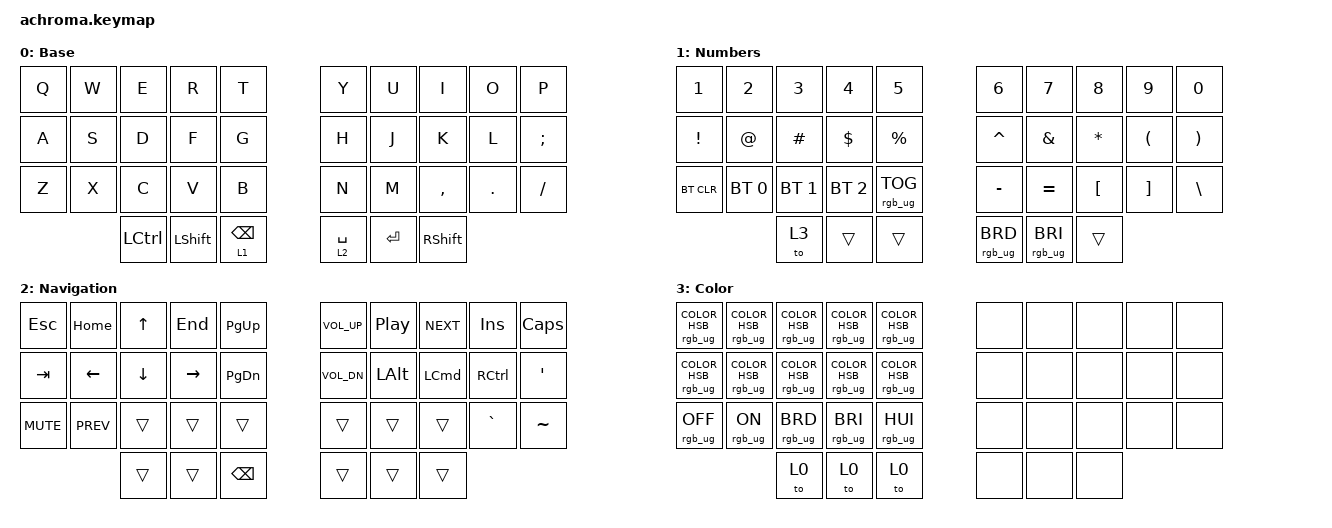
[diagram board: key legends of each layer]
#include <behaviors.dtsi>
#include <dt-bindings/zmk/keys.h>
#include <dt-bindings/zmk/bt.h>
#include <dt-bindings/zmk/outputs.h>
#include <dt-bindings/zmk/rgb.h>

/ {
    behaviors {
        // Layer-tap that switches to the layer as soon as you press and release another key
        // while holding it (so a quick "hold + tap" works), and types the tap key otherwise.
        lt_b: layer_tap_balanced {
            compatible = "zmk,behavior-hold-tap";
            #binding-cells = <2>;
            flavor = "balanced";
            tapping-term-ms = <200>;
            bindings = <&mo>, <&kp>;
        };
    };

    keymap {
        compatible = "zmk,keymap";

        // Layer 0: QWERTY Base
        default_layer {
            display-name = "Base";
            bindings = <
                &kp Q       &kp W       &kp E       &kp R       &kp T               &kp Y       &kp U       &kp I       &kp O       &kp P
                &kp A       &kp S       &kp D       &kp F       &kp G               &kp H       &kp J       &kp K       &kp L       &kp SEMI
                &kp Z       &kp X       &kp C       &kp V       &kp B               &kp N       &kp M       &kp COMMA   &kp DOT     &kp FSLH
                                        &kp LCTRL   &kp LSHIFT  &lt_b 1 BSPC         &lt_b 2 SPACE  &kp ENTER   &kp RSHIFT
            >;
        };

        // Layer 1: Numbers, Symbols, and RGB Controls
        lower_layer {
            display-name = "Numbers";
            bindings = <
                &kp N1       &kp N2       &kp N3       &kp N4       &kp N5              &kp N6       &kp N7       &kp N8       &kp N9       &kp N0
                &kp EXCL     &kp AT       &kp HASH     &kp DLLR     &kp PRCNT           &kp CARET    &kp AMPS     &kp ASTRK    &kp LPAR     &kp RPAR
                &bt BT_CLR   &bt BT_SEL 0 &bt BT_SEL 1 &bt BT_SEL 2 &rgb_ug RGB_TOG       &kp MINUS    &kp EQUAL    &kp LBKT     &kp RBKT     &kp BSLH
                                          &to 3           &trans          &trans        &rgb_ug RGB_BRD  &rgb_ug RGB_BRI  &trans
            >;
        };

        // Layer 2: Navigation and Editing
        raise_layer {
            display-name = "Navigation";
            bindings = <
                &kp ESC       &kp HOME      &kp UP        &kp END       &kp PG_UP     &kp C_VOL_UP  &kp C_PP     &kp C_NEXT   &kp INS      &kp CAPS
                &kp TAB       &kp LEFT      &kp DOWN      &kp RIGHT     &kp PG_DN     &kp C_VOL_DN  &kp LALT     &kp LCMD     &kp RCTRL    &kp SQT
                &kp C_MUTE    &kp C_PREV    &trans        &trans        &trans        &trans        &trans       &trans       &kp GRAVE    &kp TILDE
                                            &trans        &trans        &kp BSPC      &trans        &trans       &trans
            >;
        };
        // Layer 3: Color options (hold left inner thumb, tap left outer thumb to get here)
        // Any left-thumb key returns to the base layer.
        color_layer {
            display-name = "Color";
            bindings = <
                &rgb_ug RGB_COLOR_HSB(0,100,15)    &rgb_ug RGB_COLOR_HSB(30,100,15)   &rgb_ug RGB_COLOR_HSB(60,100,15)   &rgb_ug RGB_COLOR_HSB(120,100,15)  &rgb_ug RGB_COLOR_HSB(180,100,15)    &none &none &none &none &none
                &rgb_ug RGB_COLOR_HSB(240,100,15)  &rgb_ug RGB_COLOR_HSB(270,100,15)  &rgb_ug RGB_COLOR_HSB(300,100,15)  &rgb_ug RGB_COLOR_HSB(330,100,15)  &rgb_ug RGB_COLOR_HSB(0,0,15)       &none &none &none &none &none
                &rgb_ug RGB_OFF                    &rgb_ug RGB_ON                     &rgb_ug RGB_BRD                    &rgb_ug RGB_BRI                    &rgb_ug RGB_HUI                      &none &none &none &none &none
                                                                                       &to 0                              &to 0                              &to 0                                &none &none &none
            >;
        };
    };
};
